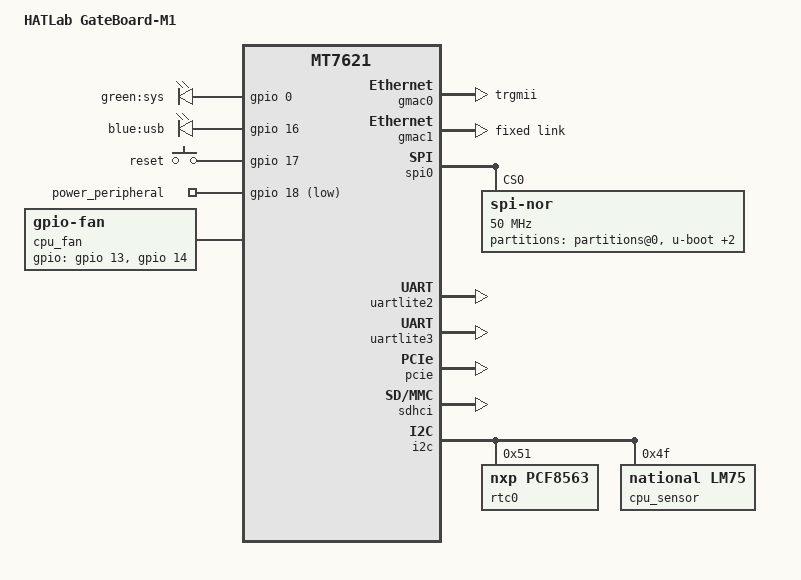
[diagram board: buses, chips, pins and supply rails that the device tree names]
#include "mt7621.dtsi"

#include <dt-bindings/gpio/gpio.h>
#include <dt-bindings/input/input.h>
#include <dt-bindings/thermal/thermal.h>

/ {
	compatible = "hatlab,gateboard-m1", "mediatek,mt7621-soc";
	model = "HATLab GateBoard-M1";

	chosen {
		bootargs = "console=ttyS0,115200";
	};

	aliases {
		led-boot = &led_sys;
		led-failsafe = &led_sys;
		led-running = &led_sys;
		led-upgrade = &led_sys;
	};

	leds {
		compatible = "gpio-leds";

		led_sys: sys {
			label = "green:sys";
			gpios = <&gpio 0 GPIO_ACTIVE_HIGH>;
		};

		usb {
			label = "blue:usb";
			gpios = <&gpio 16 GPIO_ACTIVE_HIGH>;
			trigger-sources = <&xhci_ehci_port1>;
			linux,default-trigger = "usbport";
		};
	};

	keys {
		compatible = "gpio-keys";

		reset {
			label = "reset";
			gpios = <&gpio 17 GPIO_ACTIVE_HIGH>;
			linux,code = <KEY_RESTART>;
		};
	};

	gpio_export {
		compatible = "gpio-export";
		#size-cells = <0>;

		power_peripheral {
			gpio-export,name = "power_peripheral";
			gpio-export,output = <0>;
			gpios = <&gpio 18 GPIO_ACTIVE_LOW>;
		};
	};

	cpu_fan: cpu_fan {
		compatible = "gpio-fan";
		gpios = <
				 &gpio 13 GPIO_ACTIVE_HIGH
				 &gpio 14 GPIO_ACTIVE_HIGH
				>;
		gpio-fan,speed-map = <
								0	0
								2000	1
								4000	2
								6000	3
							>;
		cooling-min-state = <0>;
		cooling-max-state = <3>;
		#cooling-cells = <2>;
	};

	thermal-zones {
		cpu-thermal {
			polling-delay = <1000>;
			polling-delay-passive = <250>;

			thermal-sensors = <&cpu_sensor>;

			trips {
				cpu_normal: cpu-normal {
					temperature = <40000>;
					hysteresis = <2000>;
					type = "active";
				};

				cpu_high: cpu-high {
					temperature = <55000>;
					hysteresis = <2000>;
					type = "passive";
				};

				cpu_alert: cpu-alert {
					temperature = <70000>;
					hysteresis = <2000>;
					type = "hot";
				};

				cpu_crit: cpu-crit {
					temperature = <85000>;
					hysteresis = <2000>;
					type = "critical";
				};
			};

			cooling-maps {
				map0 {
					trip = <&cpu_normal>;
					cooling-device = <&cpu_fan THERMAL_NO_LIMIT 1>;
				};

				map1 {
					trip = <&cpu_high>;
					cooling-device = <&cpu_fan 2 2>;
				};

				map2 {
					trip = <&cpu_alert>;
					cooling-device = <&cpu_fan 3 THERMAL_NO_LIMIT>;
				};
			};
		};
	};

/*
	sfp: sfp {
		compatible = "sff,sfp";
		i2c-bus = <&i2c>;
		maximum-power-milliwatt = <1000>;
		mod-def0-gpios = <&gpio 15 GPIO_ACTIVE_LOW>;
	};
};

&mdio {
	ephy7: ethernet-phy@7 {
		status = "okay";
		reg = <7>;
		sfp = <&sfp>;
	};
*/
};

&ethernet {
	pinctrl-names = "default";
	pinctrl-0 = <&rgmii1_pins &rgmii2_pins &mdio_pins>;
};

&gmac0 {
	label = "dsa0";
	phy-mode = "trgmii";
	nvmem-cells = <&macaddr_factory_22>;
	nvmem-cell-names = "mac-address";
};

&gmac1 {
	status = "okay";
	label = "eth5";
	/*phy-handle = <&ephy7>;*/
	nvmem-cells = <&macaddr_factory_22>;
	nvmem-cell-names = "mac-address";
	mac-address-increment = <5>;

	fixed-link {
		speed = <1000>;
		full-duplex;
		link-gpios = <&gpio 15 GPIO_ACTIVE_LOW>;
	};
};

&spi0 {
	status = "okay";

	spi-nor@0 {
		compatible = "jedec,spi-nor";
		reg = <0>;
		spi-max-frequency = <50000000>;

		partitions@0 {
			compatible = "fixed-partitions";
			#address-cells = <1>;
			#size-cells = <1>;

			partition@0 {
				label = "u-boot";
				reg = <0x0 0x40000>;
				read-only;
			};

			partition@40000 {
				label = "u-boot-env";
				reg = <0x40000 0x10000>;
			};

			factory: partition@50000 {
				label = "factory";
				reg = <0x50000 0x10000>;
			};
		};
	};
};

&uartlite2 {
	status = "okay";
};

&uartlite3 {
	status = "okay";
};

&state_default {
	gpio {
		groups = "wdt", "jtag";
		function = "gpio";
	};
};

&pcie {
	status = "okay";
};

&sdhci {
	status = "okay";
	max-frequency = <48000000>;
};

&switch0 {
	ports {
		port@0 {
			status = "okay";
			label = "eth0";
		};

		port@1 {
			status = "okay";
			label = "eth1";
			nvmem-cells = <&macaddr_factory_22>;
			nvmem-cell-names = "mac-address";
			mac-address-increment = <1>;
		};

		port@2 {
			status = "okay";
			label = "eth2";
			nvmem-cells = <&macaddr_factory_22>;
			nvmem-cell-names = "mac-address";
			mac-address-increment = <2>;
		};

		port@3 {
			status = "okay";
			label = "eth3";
			nvmem-cells = <&macaddr_factory_22>;
			nvmem-cell-names = "mac-address";
			mac-address-increment = <3>;
		};

		port@4 {
			status = "okay";
			label = "eth4";
			nvmem-cells = <&macaddr_factory_22>;
			nvmem-cell-names = "mac-address";
			mac-address-increment = <4>;
		};

		port@6 {
			phy-mode = "trgmii";
		};
	};
};

&i2c {
	status = "okay";

	rtc0: pcf8563@51 {
		compatible = "nxp,pcf8563";
		reg = <0x51>;
	};

	cpu_sensor: lm75@4f {
		compatible = "national,lm75";
		reg = <0x4f>;
		#thermal-sensor-cells = <0>;
	};
};

&factory {
	compatible = "nvmem-cells";
	#address-cells = <1>;
	#size-cells = <1>;

	macaddr_factory_22: macaddr@22 {
		reg = <0x22 0x6>;
	};
};
